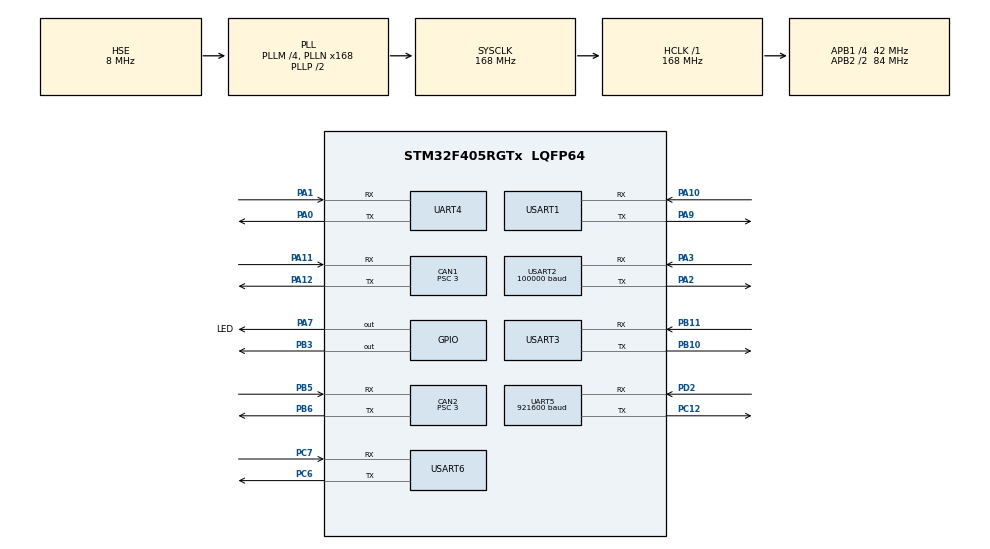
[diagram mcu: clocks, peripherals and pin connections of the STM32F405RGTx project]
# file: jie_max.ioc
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CAN1.ABOM=ENABLE
CAN1.BS1=CAN_BS1_6TQ
CAN1.BS2=CAN_BS2_7TQ
CAN1.CalculateBaudRate=1000000
CAN1.CalculateTimeBit=1000
CAN1.CalculateTimeQuantum=71.42857142857143
CAN1.NART=ENABLE
CAN1.Prescaler=3
CAN2.ABOM=ENABLE
CAN2.BS1=CAN_BS1_6TQ
CAN2.BS2=CAN_BS2_7TQ
CAN2.CalculateBaudRate=1000000
CAN2.CalculateTimeBit=1000
CAN2.CalculateTimeQuantum=71.42857142857143
CAN2.NART=ENABLE
CAN2.Prescaler=3
Dma.Request0=UART4_RX
Dma.Request1=UART4_TX
Dma.Request10=USART6_TX
Dma.Request2=USART3_RX
Dma.Request3=USART3_TX
Dma.Request4=USART2_RX
Dma.Request5=UART5_RX
Dma.Request6=UART5_TX
Dma.Request7=USART1_RX
Dma.Request8=USART1_TX
Dma.Request9=USART6_RX
Dma.UART4_RX.0.Direction=DMA_PERIPH_TO_MEMORY
Dma.UART4_RX.0.FIFOMode=DMA_FIFOMODE_DISABLE
Dma.UART4_RX.0.Instance=DMA1_Stream2
Dma.UART4_RX.0.MemDataAlignment=DMA_MDATAALIGN_BYTE
Dma.UART4_RX.0.MemInc=DMA_MINC_ENABLE
Dma.UART4_RX.0.Mode=DMA_CIRCULAR
Dma.UART4_RX.0.PeriphDataAlignment=DMA_PDATAALIGN_BYTE
Dma.UART4_RX.0.PeriphInc=DMA_PINC_DISABLE
Dma.UART4_RX.0.Priority=DMA_PRIORITY_LOW
Dma.UART4_TX.1.Direction=DMA_MEMORY_TO_PERIPH
Dma.UART4_TX.1.FIFOMode=DMA_FIFOMODE_DISABLE
Dma.UART4_TX.1.Instance=DMA1_Stream4
Dma.UART4_TX.1.MemDataAlignment=DMA_MDATAALIGN_BYTE
Dma.UART4_TX.1.MemInc=DMA_MINC_ENABLE
Dma.UART4_TX.1.Mode=DMA_NORMAL
Dma.UART4_TX.1.PeriphDataAlignment=DMA_PDATAALIGN_BYTE
Dma.UART4_TX.1.PeriphInc=DMA_PINC_DISABLE
Dma.UART4_TX.1.Priority=DMA_PRIORITY_LOW
Dma.UART5_RX.5.Direction=DMA_PERIPH_TO_MEMORY
Dma.UART5_RX.5.FIFOMode=DMA_FIFOMODE_DISABLE
Dma.UART5_RX.5.Instance=DMA1_Stream0
Dma.UART5_RX.5.MemDataAlignment=DMA_MDATAALIGN_BYTE
Dma.UART5_RX.5.MemInc=DMA_MINC_ENABLE
Dma.UART5_RX.5.Mode=DMA_CIRCULAR
Dma.UART5_RX.5.PeriphDataAlignment=DMA_PDATAALIGN_BYTE
Dma.UART5_RX.5.PeriphInc=DMA_PINC_DISABLE
Dma.UART5_RX.5.Priority=DMA_PRIORITY_HIGH
Dma.UART5_TX.6.Direction=DMA_MEMORY_TO_PERIPH
Dma.UART5_TX.6.FIFOMode=DMA_FIFOMODE_DISABLE
Dma.UART5_TX.6.Instance=DMA1_Stream7
Dma.UART5_TX.6.MemDataAlignment=DMA_MDATAALIGN_BYTE
Dma.UART5_TX.6.MemInc=DMA_MINC_ENABLE
Dma.UART5_TX.6.Mode=DMA_NORMAL
Dma.UART5_TX.6.PeriphDataAlignment=DMA_PDATAALIGN_BYTE
Dma.UART5_TX.6.PeriphInc=DMA_PINC_DISABLE
Dma.UART5_TX.6.Priority=DMA_PRIORITY_HIGH
Dma.USART1_RX.7.Direction=DMA_PERIPH_TO_MEMORY
Dma.USART1_RX.7.FIFOMode=DMA_FIFOMODE_DISABLE
Dma.USART1_RX.7.Instance=DMA2_Stream2
Dma.USART1_RX.7.MemDataAlignment=DMA_MDATAALIGN_BYTE
Dma.USART1_RX.7.MemInc=DMA_MINC_ENABLE
Dma.USART1_RX.7.Mode=DMA_CIRCULAR
Dma.USART1_RX.7.PeriphDataAlignment=DMA_PDATAALIGN_BYTE
Dma.USART1_RX.7.PeriphInc=DMA_PINC_DISABLE
Dma.USART1_RX.7.Priority=DMA_PRIORITY_LOW
Dma.USART1_TX.8.Direction=DMA_MEMORY_TO_PERIPH
Dma.USART1_TX.8.FIFOMode=DMA_FIFOMODE_DISABLE
Dma.USART1_TX.8.Instance=DMA2_Stream7
Dma.USART1_TX.8.MemDataAlignment=DMA_MDATAALIGN_BYTE
Dma.USART1_TX.8.MemInc=DMA_MINC_ENABLE
Dma.USART1_TX.8.Mode=DMA_NORMAL
Dma.USART1_TX.8.PeriphDataAlignment=DMA_PDATAALIGN_BYTE
Dma.USART1_TX.8.PeriphInc=DMA_PINC_DISABLE
Dma.USART1_TX.8.Priority=DMA_PRIORITY_LOW
Dma.USART2_RX.4.Direction=DMA_PERIPH_TO_MEMORY
Dma.USART2_RX.4.FIFOMode=DMA_FIFOMODE_DISABLE
Dma.USART2_RX.4.Instance=DMA1_Stream5
Dma.USART2_RX.4.MemDataAlignment=DMA_MDATAALIGN_BYTE
Dma.USART2_RX.4.MemInc=DMA_MINC_ENABLE
Dma.USART2_RX.4.Mode=DMA_CIRCULAR
Dma.USART2_RX.4.PeriphDataAlignment=DMA_PDATAALIGN_BYTE
Dma.USART2_RX.4.PeriphInc=DMA_PINC_DISABLE
Dma.USART2_RX.4.Priority=DMA_PRIORITY_LOW
Dma.USART3_RX.2.Direction=DMA_PERIPH_TO_MEMORY
Dma.USART3_RX.2.FIFOMode=DMA_FIFOMODE_DISABLE
Dma.USART3_RX.2.Instance=DMA1_Stream1
Dma.USART3_RX.2.MemDataAlignment=DMA_MDATAALIGN_BYTE
Dma.USART3_RX.2.MemInc=DMA_MINC_ENABLE
Dma.USART3_RX.2.Mode=DMA_NORMAL
Dma.USART3_RX.2.PeriphDataAlignment=DMA_PDATAALIGN_BYTE
Dma.USART3_RX.2.PeriphInc=DMA_PINC_DISABLE
Dma.USART3_RX.2.Priority=DMA_PRIORITY_LOW
Dma.USART3_TX.3.Direction=DMA_MEMORY_TO_PERIPH
Dma.USART3_TX.3.FIFOMode=DMA_FIFOMODE_DISABLE
Dma.USART3_TX.3.Instance=DMA1_Stream3
Dma.USART3_TX.3.MemDataAlignment=DMA_MDATAALIGN_BYTE
Dma.USART3_TX.3.MemInc=DMA_MINC_ENABLE
Dma.USART3_TX.3.Mode=DMA_NORMAL
Dma.USART3_TX.3.PeriphDataAlignment=DMA_PDATAALIGN_BYTE
Dma.USART3_TX.3.PeriphInc=DMA_PINC_DISABLE
Dma.USART3_TX.3.Priority=DMA_PRIORITY_LOW
Dma.USART6_RX.9.Direction=DMA_PERIPH_TO_MEMORY
Dma.USART6_RX.9.FIFOMode=DMA_FIFOMODE_DISABLE
Dma.USART6_RX.9.Instance=DMA2_Stream1
Dma.USART6_RX.9.MemDataAlignment=DMA_MDATAALIGN_BYTE
Dma.USART6_RX.9.MemInc=DMA_MINC_ENABLE
Dma.USART6_RX.9.Mode=DMA_CIRCULAR
Dma.USART6_RX.9.PeriphDataAlignment=DMA_PDATAALIGN_BYTE
Dma.USART6_RX.9.PeriphInc=DMA_PINC_DISABLE
Dma.USART6_RX.9.Priority=DMA_PRIORITY_LOW
Dma.USART6_TX.10.Direction=DMA_MEMORY_TO_PERIPH
Dma.USART6_TX.10.FIFOMode=DMA_FIFOMODE_DISABLE
Dma.USART6_TX.10.Instance=DMA2_Stream6
Dma.USART6_TX.10.MemDataAlignment=DMA_MDATAALIGN_BYTE
Dma.USART6_TX.10.MemInc=DMA_MINC_ENABLE
Dma.USART6_TX.10.Mode=DMA_NORMAL
Dma.USART6_TX.10.PeriphDataAlignment=DMA_PDATAALIGN_BYTE
Dma.USART6_TX.10.PeriphInc=DMA_PINC_DISABLE
Dma.USART6_TX.10.Priority=DMA_PRIORITY_LOW
FREERTOS.Tasks01=defaultTask,24,128,StartDefaultTask,Default,NULL,Dynamic,NULL,NULL;dr16,40,128,dr16_task,As weak,NULL,Dynamic,NULL,NULL;vt13,40,128,vt13_task,As weak,NULL,Dynamic,NULL,NULL;vofa,8,256,vofa_task,As weak,NULL,Dynamic,NULL,NULL;imu_can,40,128,imu_can_task,As weak,NULL,Dynamic,NULL,NULL;lx824,8,256,lx824_task,As weak,NULL,Dynamic,NULL,NULL;i6X,40,128,i6X_task,As weak,NULL,Dynamic,NULL,NULL;imu_485,40,128,imu_485_task,As weak,NULL,Dynamic,NULL,NULL;gimbal,24,512,gimbal_task,As weak,NULL,Dynamic,NULL,NULL;chassis,8,256,chassis_task,As weak,NULL,Dynamic,NULL,NULL;game,8,256,game_task,As weak,NULL,Dynamic,NULL,NULL;shoot,15,256,shoot_task,As weak,NULL,Dynamic,NULL,NULL;super_power,8,256,super_power_task,As weak,NULL,Dynamic,NULL,NULL;version,40,256,version_task,As weak,NULL,Dynamic,NULL,NULL
FREERTOS.configCHECK_FOR_STACK_OVERFLOW=2
FREERTOS.configENABLE_FPU=1
FREERTOS.configGENERATE_RUN_TIME_STATS=1
FREERTOS.configRECORD_STACK_HIGH_ADDRESS=1
FREERTOS.configTOTAL_HEAP_SIZE=30000
FREERTOS.configUSE_MALLOC_FAILED_HOOK=1
Mcu.Family=STM32F4
Mcu.Name=STM32F405RGTx
Mcu.Package=LQFP64
NVIC.CAN1_RX0_IRQn=true\:5\:0\:false\:false\:true\:true\:true\:true\:true
NVIC.CAN1_RX1_IRQn=true\:5\:0\:false\:false\:true\:true\:true\:true\:true
NVIC.CAN1_TX_IRQn=true\:5\:0\:false\:false\:true\:true\:true\:true\:true
NVIC.CAN2_RX0_IRQn=true\:5\:0\:false\:false\:true\:true\:true\:true\:true
NVIC.CAN2_RX1_IRQn=true\:5\:0\:false\:false\:true\:true\:true\:true\:true
NVIC.CAN2_TX_IRQn=true\:5\:0\:false\:false\:true\:true\:true\:true\:true
NVIC.DMA1_Stream0_IRQn=true\:5\:0\:false\:false\:true\:true\:false\:true\:true
NVIC.DMA1_Stream1_IRQn=true\:5\:0\:false\:false\:true\:true\:false\:true\:true
NVIC.DMA1_Stream2_IRQn=true\:5\:0\:false\:false\:true\:true\:false\:true\:true
NVIC.DMA1_Stream3_IRQn=true\:5\:0\:false\:false\:true\:true\:false\:true\:true
NVIC.DMA1_Stream4_IRQn=true\:5\:0\:false\:false\:true\:true\:false\:true\:true
NVIC.DMA1_Stream5_IRQn=true\:5\:0\:false\:false\:true\:true\:false\:true\:true
NVIC.DMA1_Stream7_IRQn=true\:5\:0\:false\:false\:true\:true\:false\:true\:true
NVIC.DMA2_Stream1_IRQn=true\:5\:0\:false\:false\:true\:true\:false\:true\:true
NVIC.DMA2_Stream2_IRQn=true\:5\:0\:false\:false\:true\:true\:false\:true\:true
NVIC.DMA2_Stream6_IRQn=true\:5\:0\:false\:false\:true\:true\:false\:true\:true
NVIC.DMA2_Stream7_IRQn=true\:5\:0\:false\:false\:true\:true\:false\:true\:true
NVIC.HASH_RNG_IRQn=true\:5\:0\:false\:false\:true\:true\:true\:true\:true
NVIC.PriorityGroup=NVIC_PRIORITYGROUP_4
NVIC.TIM1_UP_TIM10_IRQn=true\:5\:0\:false\:false\:true\:true\:true\:true\:true
NVIC.TIM7_IRQn=true\:15\:0\:false\:false\:true\:false\:false\:true\:true
NVIC.TimeBase=TIM7_IRQn
NVIC.TimeBaseIP=TIM7
NVIC.UART4_IRQn=true\:5\:0\:false\:false\:true\:true\:false\:true\:true
NVIC.UART5_IRQn=true\:5\:0\:false\:false\:true\:true\:true\:true\:true
NVIC.USART1_IRQn=true\:5\:0\:false\:false\:true\:true\:true\:true\:true
NVIC.USART2_IRQn=true\:5\:0\:false\:false\:true\:true\:true\:true\:true
NVIC.USART3_IRQn=true\:5\:0\:false\:false\:true\:true\:true\:true\:true
NVIC.USART6_IRQn=true\:5\:0\:false\:false\:true\:true\:true\:true\:true
PA0-WKUP.Mode=Asynchronous
PA0-WKUP.Signal=UART4_TX
PA1.Mode=Asynchronous
PA1.Signal=UART4_RX
PA10.Mode=Asynchronous
PA10.Signal=USART1_RX
PA11.Mode=CAN_Activate
PA11.Signal=CAN1_RX
PA12.Mode=CAN_Activate
PA12.Signal=CAN1_TX
PA13.Mode=Serial_Wire
PA13.Signal=SYS_JTMS-SWDIO
PA14.Mode=Serial_Wire
PA14.Signal=SYS_JTCK-SWCLK
PA2.Mode=Asynchronous
PA2.Signal=USART2_TX
PA3.Mode=Asynchronous
PA3.Signal=USART2_RX
PA7.GPIO_Label=LED
PA7.GPIO_Speed=GPIO_SPEED_FREQ_MEDIUM
PA7.Signal=GPIO_Output
PA9.Mode=Asynchronous
PA9.Signal=USART1_TX
PB10.Mode=Asynchronous
PB10.Signal=USART3_TX
PB11.Mode=Asynchronous
PB11.Signal=USART3_RX
PB3.GPIO_Speed=GPIO_SPEED_FREQ_MEDIUM
PB3.Signal=GPIO_Output
PB5.Mode=CAN_Activate
PB5.Signal=CAN2_RX
PB6.Mode=CAN_Activate
PB6.Signal=CAN2_TX
PC12.Mode=Asynchronous
PC12.Signal=UART5_TX
PC6.Mode=Asynchronous
PC6.Signal=USART6_TX
PC7.Mode=Asynchronous
PC7.Signal=USART6_RX
PD2.Mode=Asynchronous
PD2.Signal=UART5_RX
PH0-OSC_IN.Mode=HSE-External-Oscillator
PH0-OSC_IN.Signal=RCC_OSC_IN
PH1-OSC_OUT.Mode=HSE-External-Oscillator
PH1-OSC_OUT.Signal=RCC_OSC_OUT
ProjectManager.HeapSize=0x200
ProjectManager.StackSize=0x400
ProjectManager.TargetToolchain=CMake
RCC.48MHZClocksFreq_Value=48000000
RCC.AHBFreq_Value=168000000
RCC.APB1CLKDivider=RCC_HCLK_DIV4
RCC.APB1Freq_Value=42000000
RCC.APB1TimFreq_Value=84000000
RCC.APB2CLKDivider=RCC_HCLK_DIV2
RCC.APB2Freq_Value=84000000
RCC.APB2TimFreq_Value=168000000
RCC.CortexFreq_Value=168000000
RCC.HCLKFreq_Value=168000000
RCC.HSE_VALUE=8000000
RCC.HSI_VALUE=16000000
RCC.LSE_VALUE=32768
RCC.PLLM=4
RCC.PLLN=168
RCC.PLLQ=7
RCC.PLLSourceVirtual=RCC_PLLSOURCE_HSE
RCC.SYSCLKFreq_VALUE=168000000
RCC.SYSCLKSource=RCC_SYSCLKSOURCE_PLLCLK
RCC.VCOOutputFreq_Value=336000000
TIM10.Period=1000
TIM10.Prescaler=168-1
UART4.VirtualMode=Asynchronous
UART5.BaudRate=921600
UART5.VirtualMode=Asynchronous
USART1.VirtualMode=VM_ASYNC
USART2.BaudRate=100000
USART2.Mode=MODE_RX
USART2.Parity=PARITY_EVEN
USART2.VirtualMode=VM_ASYNC
USART2.WordLength=WORDLENGTH_9B
USART3.VirtualMode=VM_ASYNC
USART6.VirtualMode=VM_ASYNC
VP_FREERTOS_VS_CMSIS_V2.Mode=CMSIS_V2
VP_RNG_VS_RNG.Mode=RNG_Activate
VP_SYS_VS_tim7.Mode=TIM7
VP_TIM10_VS_ClockSourceINT.Mode=Enable_Timer
board=custom

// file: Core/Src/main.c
/* USER CODE BEGIN Header */
/**
 ******************************************************************************
 * @file           : main.c
 * @brief          : Main program body
 ******************************************************************************
 * @attention
 *
 * Copyright (c) 2026 STMicroelectronics.
 * All rights reserved.
 *
 * This software is licensed under terms that can be found in the LICENSE file
 * in the root directory of this software component.
 * If no LICENSE file comes with this software, it is provided AS-IS.
 *
 ******************************************************************************
 */
/* USER CODE END Header */
#include "main.h"
#include "cmsis_os.h"
#include "can.h"
#include "dma.h"
#include "iwdg.h"
#include "rng.h"
#include "tim.h"
#include "usart.h"
#include "gpio.h"

/* USER CODE BEGIN Includes */
#include "bsp_dwt.h"
#include "bsp_log.h"
#include "can_device.h"
/* USER CODE END Includes */

/* USER CODE BEGIN PV */
/* Debugger-visible log initialization result, retained across later log calls. */
volatile err_t bsp_log_init_result = PENDING;
/* USER CODE END PV */

void SystemClock_Config(void);
void MX_FREERTOS_Init(void);

int main(void)
{

  /* MCU Configuration--------------------------------------------------------*/

  /* Reset of all peripherals, Initializes the Flash interface and the Systick. */
  HAL_Init();

  /* Configure the system clock */
  SystemClock_Config();

  /* Initialize all configured peripherals */
  MX_GPIO_Init();
  MX_DMA_Init();
  MX_CAN1_Init();
  MX_CAN2_Init();
  MX_UART4_Init();
  MX_USART3_UART_Init();
  MX_USART2_UART_Init();
  MX_UART5_Init();
  MX_USART1_UART_Init();
  MX_USART6_UART_Init();
  MX_TIM10_Init();
  MX_RNG_Init();
  MX_IWDG_Init();
  /* USER CODE BEGIN 2 */
  bsp_log_init_result = BSPLogInit();
  can_device_Init();
  DWT_Init(168);
  /* USER CODE END 2 */

  /* Init scheduler */
  osKernelInitialize();  /* Call init function for freertos objects (in cmsis_os2.c) */
  MX_FREERTOS_Init();

  /* Start scheduler */
  osKernelStart();

  /* We should never get here as control is now taken by the scheduler */

  /* Infinite loop */
  while (1) {

  }
}

void SystemClock_Config(void)
{
  RCC_OscInitTypeDef RCC_OscInitStruct = {0};
  RCC_ClkInitTypeDef RCC_ClkInitStruct = {0};

  /** Configure the main internal regulator output voltage
  */
  __HAL_RCC_PWR_CLK_ENABLE();
  __HAL_PWR_VOLTAGESCALING_CONFIG(PWR_REGULATOR_VOLTAGE_SCALE1);

  /** Initializes the RCC Oscillators according to the specified parameters
  * in the RCC_OscInitTypeDef structure.
  */
  RCC_OscInitStruct.OscillatorType = RCC_OSCILLATORTYPE_LSI|RCC_OSCILLATORTYPE_HSE;
  RCC_OscInitStruct.HSEState = RCC_HSE_ON;
  RCC_OscInitStruct.LSIState = RCC_LSI_ON;
  RCC_OscInitStruct.PLL.PLLState = RCC_PLL_ON;
  RCC_OscInitStruct.PLL.PLLSource = RCC_PLLSOURCE_HSE;
  RCC_OscInitStruct.PLL.PLLM = 4;
  RCC_OscInitStruct.PLL.PLLN = 168;
  RCC_OscInitStruct.PLL.PLLP = RCC_PLLP_DIV2;
  RCC_OscInitStruct.PLL.PLLQ = 7;
  if (HAL_RCC_OscConfig(&RCC_OscInitStruct) != HAL_OK)
  {
    Error_Handler();
  }

  /** Initializes the CPU, AHB and APB buses clocks
  */
  RCC_ClkInitStruct.ClockType = RCC_CLOCKTYPE_HCLK|RCC_CLOCKTYPE_SYSCLK
                              |RCC_CLOCKTYPE_PCLK1|RCC_CLOCKTYPE_PCLK2;
  RCC_ClkInitStruct.SYSCLKSource = RCC_SYSCLKSOURCE_PLLCLK;
  RCC_ClkInitStruct.AHBCLKDivider = RCC_SYSCLK_DIV1;
  RCC_ClkInitStruct.APB1CLKDivider = RCC_HCLK_DIV4;
  RCC_ClkInitStruct.APB2CLKDivider = RCC_HCLK_DIV2;

  if (HAL_RCC_ClockConfig(&RCC_ClkInitStruct, FLASH_LATENCY_5) != HAL_OK)
  {
    Error_Handler();
  }
}

void HAL_TIM_PeriodElapsedCallback(TIM_HandleTypeDef *htim)
{
  if (htim->Instance == TIM7)
  {
    HAL_IncTick();
  }
}

void Error_Handler(void)
{
  __disable_irq();
  while (1) {
  }
}
#ifdef USE_FULL_ASSERT
/**
  * @brief  Reports the name of the source file and the source line number
  *         where the assert_param error has occurred.
  * @param  file: pointer to the source file name
  * @param  line: assert_param error line source number
  * @retval None
  */
void assert_failed(uint8_t *file, uint32_t line)
{
  /* USER CODE BEGIN 6 */
  /* User can add his own implementation to report the file name and line
     number, ex: printf("Wrong parameters value: file %s on line %d\r\n", file,
     line) */
  /* USER CODE END 6 */
}
#endif /* USE_FULL_ASSERT */

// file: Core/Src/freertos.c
/* USER CODE BEGIN Header */
/**
 ******************************************************************************
 * File Name          : freertos.c
 * Description        : Code for freertos applications
 ******************************************************************************
 * @attention
 *
 * Copyright (c) 2026 STMicroelectronics.
 * All rights reserved.
 *
 * This software is licensed under terms that can be found in the LICENSE file
 * in the root directory of this software component.
 * If no LICENSE file comes with this software, it is provided AS-IS.
 *
 ******************************************************************************
 */
/* USER CODE END Header */

#include "FreeRTOS.h"
#include "cmsis_os.h"
#include "main.h"
#include "task.h"

/* USER CODE BEGIN Includes */
#include "iwdg.h"

/* USER CODE END Includes */

/* Definitions for defaultTask */
osThreadId_t defaultTaskHandle;
const osThreadAttr_t defaultTask_attributes = {
    .name = "defaultTask",
    /* Keep stack headroom for RTT logging and command handlers. */
    .stack_size = 512 * 4,
    .priority = (osPriority_t)osPriorityNormal,
};
/* Definitions for dr16 */
osThreadId_t dr16Handle;
const osThreadAttr_t dr16_attributes = {
    .name = "dr16",
    .stack_size = 512 * 4,
    .priority = (osPriority_t)osPriorityHigh,
};
/* Definitions for vt13 */
osThreadId_t vt13Handle;
const osThreadAttr_t vt13_attributes = {
    .name = "vt13",
    .stack_size = 256 * 4,
    .priority = (osPriority_t)osPriorityHigh,
};
/* Definitions for vofa */
osThreadId_t vofaHandle;
const osThreadAttr_t vofa_attributes = {
    .name = "vofa",
    .stack_size = 512 * 4,
    .priority = (osPriority_t)osPriorityLow,
};
/* Definitions for imu_can */
osThreadId_t imu_canHandle;
const osThreadAttr_t imu_can_attributes = {
    .name = "imu_can",
    .stack_size = 512 * 4,
    .priority = (osPriority_t)osPriorityHigh,
};
/* Definitions for lx824 */
osThreadId_t lx824Handle;
const osThreadAttr_t lx824_attributes = {
    .name = "lx824",
    .stack_size = 512 * 4,
    .priority = (osPriority_t)osPriorityLow,
};
/* Definitions for i6X */
osThreadId_t i6XHandle;
const osThreadAttr_t i6X_attributes = {
    .name = "i6X",
    .stack_size = 512 * 4,
    .priority = (osPriority_t)osPriorityHigh,
};
/* Definitions for imu_485 */
osThreadId_t imu_485Handle;
const osThreadAttr_t imu_485_attributes = {
    .name = "imu_485",
    .stack_size = 512 * 4,
    .priority = (osPriority_t)osPriorityHigh,
};
/* Definitions for gimbal */
osThreadId_t gimbalHandle;
const osThreadAttr_t gimbal_attributes = {
    .name = "gimbal",
    .stack_size = 512 * 4,
    .priority = (osPriority_t)osPriorityNormal,
};
/* Definitions for chassis */
osThreadId_t chassisHandle;
const osThreadAttr_t chassis_attributes = {
    .name = "chassis",
    .stack_size = 512 * 4,
    .priority = (osPriority_t)osPriorityLow,
};
/* Definitions for game */
osThreadId_t gameHandle;
const osThreadAttr_t game_attributes = {
    .name = "game",
    .stack_size = 512 * 4,
    .priority = (osPriority_t)osPriorityLow,
};
/* Definitions for shoot */
osThreadId_t shootHandle;
const osThreadAttr_t shoot_attributes = {
    .name = "shoot",
    .stack_size = 512 * 4,
    .priority = (osPriority_t)osPriorityLow7,
};
/* Definitions for super_power */
osThreadId_t super_powerHandle;
const osThreadAttr_t super_power_attributes = {
    .name = "super_power",
    .stack_size = 256 * 4,
    .priority = (osPriority_t)osPriorityLow,
};
/* Definitions for version */
osThreadId_t versionHandle;
const osThreadAttr_t version_attributes = {
    .name = "version",
    .stack_size = 256 * 4,
    .priority = (osPriority_t)osPriorityHigh,
};

/* USER CODE BEGIN FunctionPrototypes */
/* Visible to J-Link/GDB after a FreeRTOS hook stops the CPU. */
volatile signed char *freertos_stack_overflow_task_name;
volatile uint32_t freertos_stack_overflow_detected;
volatile uint32_t freertos_malloc_failed_detected;
/* USER CODE END FunctionPrototypes */

void StartDefaultTask(void *argument);
void dr16_task(void *argument);
void vt13_task(void *argument);
void vofa_task(void *argument);
void imu_can_task(void *argument);
void lx824_task(void *argument);
void i6X_task(void *argument);
void imu_485_task(void *argument);
void gimbal_task(void *argument);
void chassis_task(void *argument);
void game_task(void *argument);
void shoot_task(void *argument);
void super_power_task(void *argument);
void version_task(void *argument);

void MX_FREERTOS_Init(void); /* (MISRA C 2004 rule 8.1) */

/* Hook prototypes */
void configureTimerForRunTimeStats(void);
unsigned long getRunTimeCounterValue(void);
void vApplicationStackOverflowHook(xTaskHandle xTask, signed char *pcTaskName);
void vApplicationMallocFailedHook(void);

/* USER CODE BEGIN 1 */
/* Functions needed when configGENERATE_RUN_TIME_STATS is on */
__weak void configureTimerForRunTimeStats(void) {}

__weak unsigned long getRunTimeCounterValue(void) { return 0; }
/* USER CODE END 1 */

/* USER CODE BEGIN 4 */
void vApplicationStackOverflowHook(xTaskHandle xTask, signed char *pcTaskName) {
  /* Run time stack overflow checking is performed if
  configCHECK_FOR_STACK_OVERFLOW is defined to 1 or 2. This hook function is
  called if a stack overflow is detected. */
  (void)xTask;
  freertos_stack_overflow_task_name = pcTaskName;
  freertos_stack_overflow_detected = 1U;
  taskDISABLE_INTERRUPTS();
  for (;;) {
  }
}
/* USER CODE END 4 */

/* USER CODE BEGIN 5 */
void vApplicationMallocFailedHook(void) {
  /* vApplicationMallocFailedHook() will only be called if
  configUSE_MALLOC_FAILED_HOOK is set to 1 in FreeRTOSConfig.h. It is a hook
  function that will get called if a call to pvPortMalloc() fails.
  pvPortMalloc() is called internally by the kernel whenever a task, queue,
  timer or semaphore is created. It is also called by various parts of the
  demo application. If heap_1.c or heap_2.c are used, then the size of the
  heap available to pvPortMalloc() is defined by configTOTAL_HEAP_SIZE in
  FreeRTOSConfig.h, and the xPortGetFreeHeapSize() API function can be used
  to query the size of free heap space that remains (although it does not
  provide information on how the remaining heap might be fragmented). */
  freertos_malloc_failed_detected = 1U;
  taskDISABLE_INTERRUPTS();
  for (;;) {
  }
}
/* USER CODE END 5 */

void MX_FREERTOS_Init(void) {

  /* Create the thread(s) */
  /* creation of defaultTask */
  defaultTaskHandle =
      osThreadNew(StartDefaultTask, NULL, &defaultTask_attributes);

  /* creation of dr16 */
  dr16Handle = osThreadNew(dr16_task, NULL, &dr16_attributes);

  /* creation of vt13 */
  vt13Handle = osThreadNew(vt13_task, NULL, &vt13_attributes);

  /* creation of vofa */
  vofaHandle = osThreadNew(vofa_task, NULL, &vofa_attributes);

  /* creation of imu_can */
  imu_canHandle = osThreadNew(imu_can_task, NULL, &imu_can_attributes);

  /* creation of lx824 */
  lx824Handle = osThreadNew(lx824_task, NULL, &lx824_attributes);

  /* creation of i6X */
  i6XHandle = osThreadNew(i6X_task, NULL, &i6X_attributes);

  /* creation of imu_485 */
  imu_485Handle = osThreadNew(imu_485_task, NULL, &imu_485_attributes);

  /* creation of gimbal */
  gimbalHandle = osThreadNew(gimbal_task, NULL, &gimbal_attributes);

  /* creation of chassis */
  chassisHandle = osThreadNew(chassis_task, NULL, &chassis_attributes);

  /* creation of game */
  gameHandle = osThreadNew(game_task, NULL, &game_attributes);

  /* creation of shoot */
  shootHandle = osThreadNew(shoot_task, NULL, &shoot_attributes);

  /* creation of super_power */
  super_powerHandle =
      osThreadNew(super_power_task, NULL, &super_power_attributes);

  /* creation of version */
  versionHandle = osThreadNew(version_task, NULL, &version_attributes);

}

void StartDefaultTask(void *argument) {
  /* USER CODE BEGIN StartDefaultTask */
  /* Infinite loop */
  for (;;) {
    /*
     * The watchdog is started by MX_IWDG_Init() before the scheduler starts.
     * Keep the refresh in a scheduler task so a stalled scheduler or a task
     * that prevents normal scheduling can still cause an automatic reset.
     */
    (void)HAL_IWDG_Refresh(&hiwdg);
    osDelay(10u);
  }
  /* USER CODE END StartDefaultTask */
}

__weak void dr16_task(void *argument) {
  for (;;) {
    osDelay(1);
  }
}

__weak void vt13_task(void *argument) {
  for (;;) {
    osDelay(1);
  }
}

__weak void vofa_task(void *argument) {
  for (;;) {
    osDelay(1);
  }
}

__weak void imu_can_task(void *argument) {
  for (;;) {
    osDelay(1);
  }
}

__weak void lx824_task(void *argument) {
  for (;;) {
    osDelay(1);
  }
}

__weak void i6X_task(void *argument) {
  for (;;) {
    osDelay(1);
  }
}

__weak void imu_485_task(void *argument) {
  for (;;) {
    osDelay(1);
  }
}

__weak void gimbal_task(void *argument) {
  for (;;) {
    osDelay(1);
  }
}

__weak void chassis_task(void *argument) {
  for (;;) {
    osDelay(1);
  }
}

__weak void game_task(void *argument) {
  for (;;) {
    osDelay(1);
  }
}

__weak void shoot_task(void *argument) {
  for (;;) {
    osDelay(1);
  }
}

__weak void super_power_task(void *argument) {
  for (;;) {
    osDelay(1);
  }
}

__weak void version_task(void *argument) {
  for (;;) {
    osDelay(1);
  }
}
